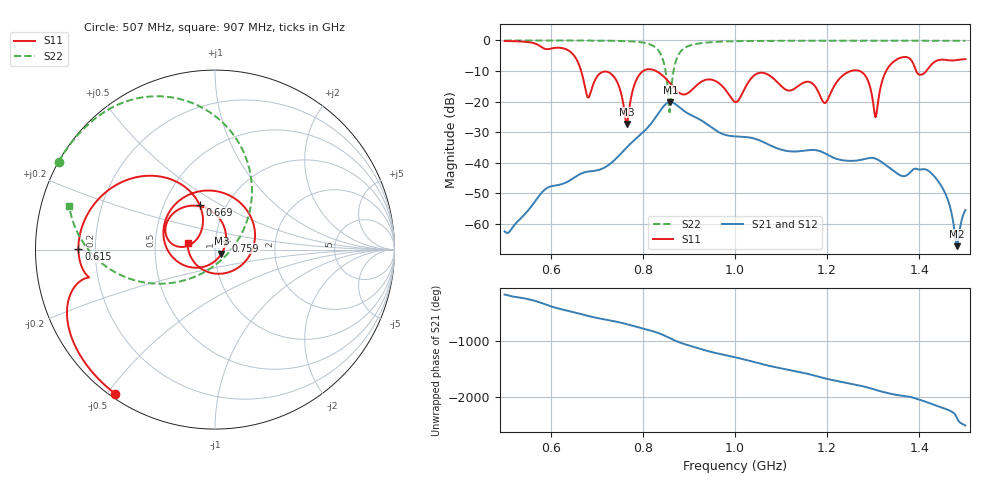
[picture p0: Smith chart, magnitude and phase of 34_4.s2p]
! TOUCHSTONE file generated by CST MICROWAVE STUDIO
! Date and time: Sat Nov 14 20:02:59 2020
! Project name: Scenario_1_Planar_Body_Tissue_Out_of_Line.cst
! Parameters = {dy1=-224.9; L_HA=400; Ltissue=700; MT=2.54; Rad_Dielectric=30; Rad_Lower=7.3; Rad_Upper=30; Wtissue=700; a_HA=580; a_WG=246; b_HA=500; b_WG=121; c_HA=0; c_WG=187; d_feed=85; dx1=693; h_feed=15; h_lower=18; h_upper=40; hfat=3; hgap=25; hmuscle=50; hskin=1.5}
! Header version: 2018
! Port assignment regex: !\s*Touchstone port\s*([0-9]+)\s*=\s*(CST MWS port|CST DS port)\s*([0-9]+|Zmin|Zmax)\s*\(\"(.*)\"\)(\s*mode\s*([0-9]+))?.*
! Touchstone port assignment:
! Touchstone port 1 = CST MWS port 1 ("")
! Touchstone port 2 = CST MWS port 2 ("")
# GHz S DB R 50
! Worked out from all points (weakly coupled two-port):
!   1003 points, 500 MHz to 1.5 GHz, reference 50 ohm
!   highest |S21| = -20.15 dB at 860 MHz (marker M1); lowest = -67.3 dB at 1.482 GHz (marker M2)
!   lowest |S11| = -27.4 dB at 765 MHz (marker M3), VSWR 1.09, Z = 53.7 - j2.48 ohm
!   |S11| at or under -10 dB: 666.1 MHz to 800.7 MHz (134.6 MHz wide, 18.4 % of centre); 828.6 MHz to 1.252 GHz (423 MHz wide, 40.7 % of centre); 1.27 GHz to 1.328 GHz (57.56 MHz wide, 4.43 % of centre) (the widest 3 of 4)
!   |S22| runs from -23.5 to 0.0 dB; largest |S21 - S12| = 5.5e-06
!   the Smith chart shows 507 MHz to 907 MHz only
!   S11 on the Smith chart (normalised r, x): 507 MHz: 0.01, -0.53; 615 MHz: 0.14, +0.00; 669 MHz: 0.75, +0.40; 759 MHz: 1.12, +0.11; 907 MHz: 0.73, +0.05
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0.5  -0.18 -121.6  -62.47 -179.2  -62.47 -179.2  -0.01 151.2
0.507  -0.20 -124.6  -62.96 166.3  -62.95 166.1  -0.01 150.7
0.615  -2.37 179.7  -47.33 -64.6  -47.33 -64.6  -0.02 142.9
0.667  -10.46 110.3  -43.49 -169.5  -43.49 -169.5  -0.04 138.4
0.669  -11.57 109.1  -43.36 -174.0  -43.36 -174.0  -0.04 138.2
0.731  -10.91 121.6  -40.12 76.1  -40.12 76.1  -0.11 130.7
0.759  -22.06 39.5  -35.95 25.9  -35.95 25.9  -0.20 125.7
0.765  -27.37 -32.7  -35.01 13.4  -35.01 13.4  -0.24 124.3
0.792  -11.32 177.3  -31.21 -45.9  -31.21 -45.9  -0.52 116.1
0.834  -10.46 64.4  -23.81 -145.7  -23.81 -145.7  -3.34 83.9
0.86  -14.19 -9.9  -20.15 117.9  -20.15 117.9  -19.54 -102.4
0.907  -16.10 166.7  -24.61 -23.7  -24.61 -23.7  -1.43 163.3
1  -20.13 -159.1  -31.40 143.6  -31.40 143.6  -0.26 140.2
1.052  -10.64 -6.8  -32.62 34.7  -32.62 34.7  -0.16 134.2
1.106  -15.66 -163.6  -35.96 -63.4  -35.96 -63.4  -0.12 129.2
1.167  -13.96 -16.1  -35.81 -171.5  -35.81 -171.5  -0.09 124.2
1.271  -10.03 1.1  -39.13 -1.2  -39.13 -1.2  -0.08 116.3
1.305  -25.09 10.4  -38.67 -76.9  -38.67 -76.9  -0.09 113.7
1.334  -8.55 35.6  -41.51 -139.5  -41.51 -139.5  -0.09 111.5
1.43  -7.37 -14.4  -44.04 21.8  -44.04 21.8  -0.10 103.9
1.482  -6.40 -40.7  -67.30 136.2  -67.32 136.5  -0.12 99.5
1.5  -6.13 -47.3  -55.49 8.5  -55.49 8.5  -0.13 97.9
